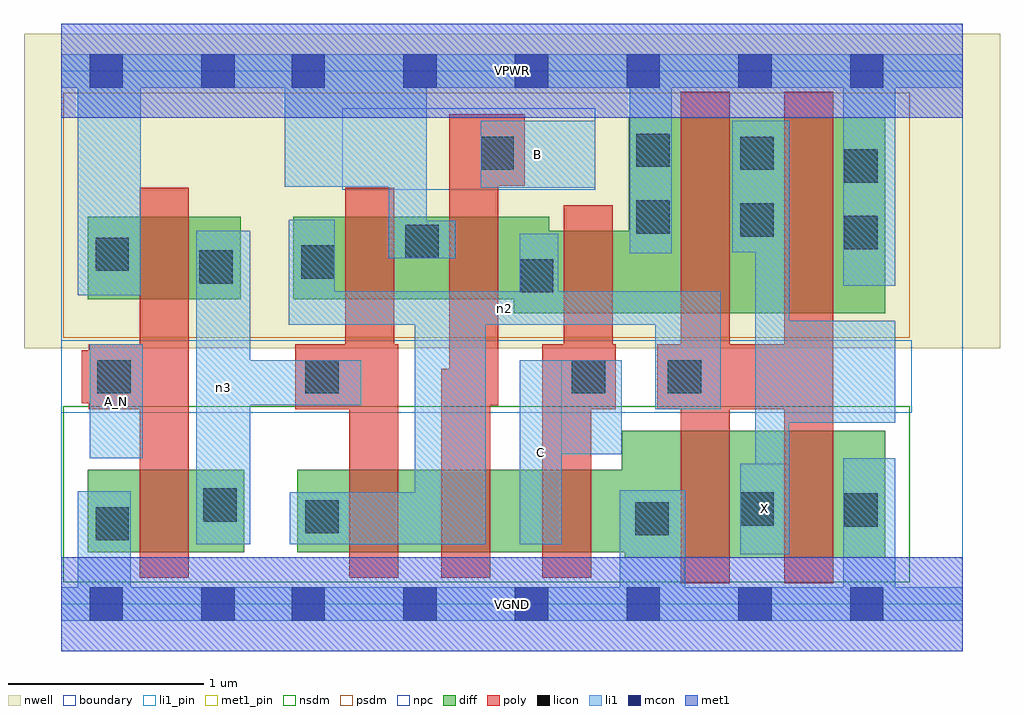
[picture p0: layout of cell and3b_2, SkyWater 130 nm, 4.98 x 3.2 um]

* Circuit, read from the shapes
.subckt and3b_2 A_N B C VGND VPWR X n2 n3
XM1 n3 A_N VGND VSUBS sky130_fd_pr__nfet_01v8 w=0.42 l=0.25
XM2 n1 n3 n2 VSUBS sky130_fd_pr__nfet_01v8 w=0.42 l=0.25
XM3 n4 B n1 VSUBS sky130_fd_pr__nfet_01v8 w=0.42 l=0.25
XM4 VGND C n4 VSUBS sky130_fd_pr__nfet_01v8 w=0.42 l=0.25
XM5 X n2 VGND VSUBS sky130_fd_pr__nfet_01v8 w=0.65 l=0.25 m=2
XM6 n3 A_N VPWR n5 sky130_fd_pr__pfet_01v8 w=0.42 l=0.25
XM7 VPWR n3 n2 n5 sky130_fd_pr__pfet_01v8 w=0.42 l=0.25
XM8 n2 B VPWR n5 sky130_fd_pr__pfet_01v8 w=0.42 l=0.25
XM9 VPWR C n2 n5 sky130_fd_pr__pfet_01v8 w=0.42 l=0.25
XM10 X n2 VPWR n5 sky130_fd_pr__pfet_01v8 w=1 l=0.25 m=2
.ends

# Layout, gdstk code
import gdstk
lib = gdstk.Library(unit=1e-6, precision=1e-09)
def R(c, l, rs):  # rectangles x0, y0, x1, y1
    for r in rs: c.add(gdstk.rectangle(r[:2], r[2:], *l))
def A(c, l, x, y, w, h, nx, ny, dx, dy):  # array of equal rectangles
    R(c, l, [(x+i*dx, y+j*dy, x+i*dx+w, y+j*dy+h) for i in range(nx) for j in range(ny)])
nwell = (64, 20)
diff = (65, 20)
poly = (66, 20)
licon = (66, 44)
li1_pin = (67, 16)
li1 = (67, 20)
mcon = (67, 44)
met1_pin = (68, 16)
met1 = (68, 20)
nsdm = (93, 44)
psdm = (94, 20)
npc = (95, 20)
boundary = (235, 4)

and3b_2 = lib.new_cell('and3b_2')
R(and3b_2, nwell, [(-0.19,1.305,4.79,2.91), (0,1.305,4.6,2.91)])
R(and3b_2, diff, [(2.875,0.235,4.205,0.885), (0.135,0.265,0.935,0.685), (1.205,0.265,4.205,0.685), (2.86,0.265,4.205,0.885), (2.31,1.485,4.205,1.905), (2.895,1.485,4.205,2.485), (0.135,1.555,0.915,1.975), (1.185,1.555,2.49,1.975)])
R(and3b_2, poly, [(3.16,0.105,3.41,2.615), (3.69,0.105,3.94,2.615), (0.4,0.135,0.65,2.125), (1.47,0.135,1.72,1.325), (1.94,0.135,2.19,1.2), (2.455,0.135,2.705,1.325), (0.14,0.995,0.65,1.325), (1.195,0.995,1.72,1.325), (1.45,0.995,1.7,2.125), (2.455,0.995,2.83,1.325), (2.565,0.995,2.815,2.035), (3.04,0.995,3.94,1.325), (1.98,1.015,2.23,2.5), (0.105,1.025,0.65,1.295), (1.98,2.135,2.365,2.5)])
R(and3b_2, licon, [(0.175,0.325,0.345,0.495), (2.93,0.35,3.1,0.52), (1.245,0.36,1.415,0.53), (3.995,0.395,4.165,0.565), (3.465,0.4,3.635,0.57), (0.725,0.42,0.895,0.59), (0.185,1.075,0.355,1.245), (1.245,1.075,1.415,1.245), (2.605,1.075,2.775,1.245), (3.095,1.075,3.265,1.245), (2.34,1.59,2.51,1.76), (0.705,1.635,0.875,1.805), (1.225,1.66,1.395,1.83), (0.175,1.7,0.345,1.87), (1.755,1.765,1.925,1.935), (3.995,1.81,4.165,1.98), (3.465,1.875,3.635,2.045), (2.935,1.89,3.105,2.06), (3.995,2.15,4.165,2.32), (2.14,2.215,2.31,2.385), (3.465,2.215,3.635,2.385), (2.935,2.23,3.105,2.4)])
R(and3b_2, li1_pin, [(3.465,0.255,3.715,0.715), (2.34,0.305,2.555,1.245), (0.145,0.745,0.415,1.325), (2.14,2.125,2.725,2.465)])
R(and3b_2, li1, [(0,-0.085,4.6,0.085), (0.085,-0.085,0.355,0.575), (2.85,-0.085,3.185,0.58), (3.99,-0.085,4.255,0.745), (3.465,0.255,3.715,0.715), (3.54,0.255,3.715,2.465), (0.69,0.305,0.965,1.905), (1.165,0.305,2.165,0.57), (1.805,0.305,2.165,1.595), (2.34,0.305,2.555,1.245), (0.145,0.745,0.415,1.325), (2.34,0.765,2.86,1.245), (3.54,0.925,4.255,1.445), (3.03,0.995,3.365,1.595), (0.69,1.015,1.53,1.245), (1.16,1.425,3.365,1.595), (1.16,1.425,1.395,1.96), (2.34,1.425,2.535,1.89), (0.085,1.575,0.405,2.805), (3.99,1.625,4.255,2.805), (1.67,1.765,1.865,2.805), (1.67,1.765,2.01,1.955), (2.9,1.79,3.115,2.805), (3.425,1.795,3.715,2.465), (2.14,2.125,2.725,2.465), (1.14,2.13,1.865,2.805), (0,2.635,4.6,2.805)])
A(and3b_2, mcon, 1.175, -0.085, 0.17, 0.17, 6, 2, 0.57, 2.72)
R(and3b_2, mcon, [(0.145,-0.085,0.315,0.085), (0.715,-0.085,0.885,0.085), (0.145,2.635,0.315,2.805), (0.715,2.635,0.885,2.805)])
R(and3b_2, met1_pin, [(0,-0.24,4.6,0.24), (0,2.48,4.6,2.96)])
R(and3b_2, met1, [(0,-0.24,4.6,0.24), (0,2.48,4.6,2.96)])
R(and3b_2, nsdm, [(0.01,0.11,4.33,1.01)])
R(and3b_2, psdm, [(0.01,1.36,4.33,2.61)])
R(and3b_2, npc, [(0,0.975,4.34,1.345), (1.435,2.115,2.725,2.53)])
R(and3b_2, boundary, [(0,0,4.6,2.72)])
and3b_2.add(gdstk.Label('A_N', (0.28,1.035), layer=67, texttype=5))
and3b_2.add(gdstk.Label('B', (2.432,2.295), layer=67, texttype=5))
and3b_2.add(gdstk.Label('C', (2.447,0.775), layer=67, texttype=5))
and3b_2.add(gdstk.Label('X', (3.59,0.485), layer=67, texttype=5))
and3b_2.add(gdstk.Label('n3', (0.827,1.105), layer=67, texttype=5))
and3b_2.add(gdstk.Label('n2', (2.262,1.51), layer=67, texttype=5))
and3b_2.add(gdstk.Label('VPWR', (2.3,2.72), layer=68, texttype=5))
and3b_2.add(gdstk.Label('VGND', (2.3,0), layer=68, texttype=5))
and3b_2.add(gdstk.Label('A_N', (0.28,1.035), layer=67, texttype=16))
and3b_2.add(gdstk.Label('B', (2.432,2.295), layer=67, texttype=16))
and3b_2.add(gdstk.Label('C', (2.447,0.775), layer=67, texttype=16))
and3b_2.add(gdstk.Label('X', (3.59,0.485), layer=67, texttype=16))
and3b_2.add(gdstk.Label('VPWR', (2.3,2.72), layer=68, texttype=16))
and3b_2.add(gdstk.Label('VGND', (2.3,0), layer=68, texttype=16))

lib.write_gds('and3b_2.gds')
